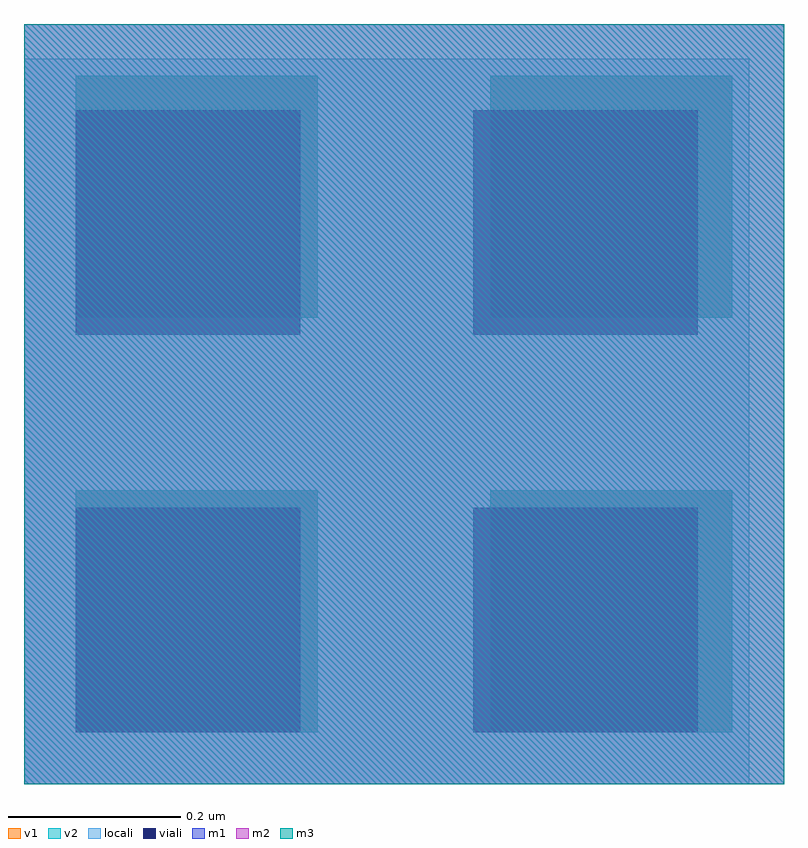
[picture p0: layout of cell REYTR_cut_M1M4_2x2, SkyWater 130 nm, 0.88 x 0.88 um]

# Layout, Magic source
magic
tech sky130A
magscale 1 2
<< locali >>
rect 0 0 168 168
<< viali >>
rect 12 12 64 64
rect 12 104 64 156
rect 104 12 156 64
rect 104 104 156 156
<< m1 >>
rect 0 0 176 176
<< v1 >>
rect 12 12 68 68
rect 12 108 68 164
rect 108 12 164 68
rect 108 108 164 164
<< m2 >>
rect 0 0 176 176
<< v2 >>
rect 12 12 68 68
rect 12 108 68 164
rect 108 12 164 68
rect 108 108 164 164
<< m3 >>
rect 0 0 176 176
<< labels >>
<< properties >>
string FIXED_BBOX 0 0 176 176
<< end >>
